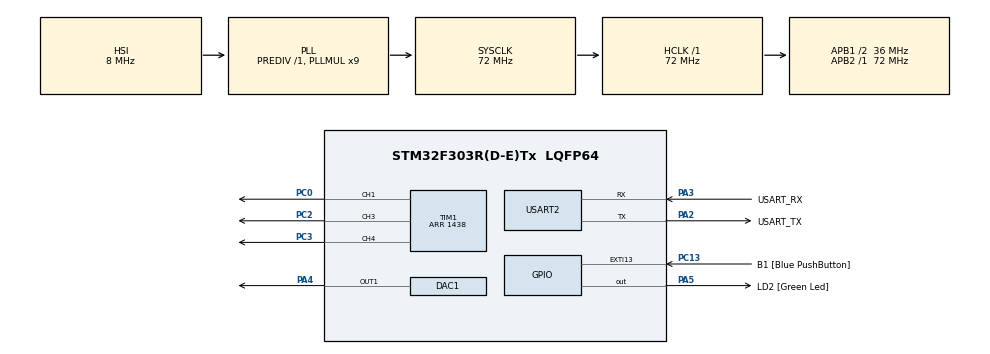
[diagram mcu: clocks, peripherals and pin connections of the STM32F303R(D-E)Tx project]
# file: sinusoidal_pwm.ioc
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DAC1.DAC_Trigger=DAC_TRIGGER_T2_TRGO
Dma.DAC1_CH1.0.Direction=DMA_MEMORY_TO_PERIPH
Dma.DAC1_CH1.0.Instance=DMA1_Channel3
Dma.DAC1_CH1.0.MemDataAlignment=DMA_MDATAALIGN_WORD
Dma.DAC1_CH1.0.MemInc=DMA_MINC_ENABLE
Dma.DAC1_CH1.0.Mode=DMA_CIRCULAR
Dma.DAC1_CH1.0.PeriphDataAlignment=DMA_PDATAALIGN_WORD
Dma.DAC1_CH1.0.PeriphInc=DMA_PINC_DISABLE
Dma.DAC1_CH1.0.Priority=DMA_PRIORITY_HIGH
Dma.Request0=DAC1_CH1
Dma.Request1=TIM1_CH1
Dma.Request2=TIM1_CH3
Dma.Request3=TIM1_CH4/TRIG/COM
Dma.TIM1_CH1.1.Direction=DMA_MEMORY_TO_PERIPH
Dma.TIM1_CH1.1.Instance=DMA1_Channel2
Dma.TIM1_CH1.1.MemDataAlignment=DMA_MDATAALIGN_HALFWORD
Dma.TIM1_CH1.1.MemInc=DMA_MINC_ENABLE
Dma.TIM1_CH1.1.Mode=DMA_CIRCULAR
Dma.TIM1_CH1.1.PeriphDataAlignment=DMA_PDATAALIGN_HALFWORD
Dma.TIM1_CH1.1.PeriphInc=DMA_PINC_DISABLE
Dma.TIM1_CH1.1.Priority=DMA_PRIORITY_HIGH
Dma.TIM1_CH3.2.Direction=DMA_MEMORY_TO_PERIPH
Dma.TIM1_CH3.2.Instance=DMA1_Channel6
Dma.TIM1_CH3.2.MemDataAlignment=DMA_MDATAALIGN_HALFWORD
Dma.TIM1_CH3.2.MemInc=DMA_MINC_ENABLE
Dma.TIM1_CH3.2.Mode=DMA_CIRCULAR
Dma.TIM1_CH3.2.PeriphDataAlignment=DMA_PDATAALIGN_HALFWORD
Dma.TIM1_CH3.2.PeriphInc=DMA_PINC_DISABLE
Dma.TIM1_CH3.2.Priority=DMA_PRIORITY_HIGH
Dma.TIM1_CH4/TRIG/COM.3.Direction=DMA_MEMORY_TO_PERIPH
Dma.TIM1_CH4/TRIG/COM.3.Instance=DMA1_Channel4
Dma.TIM1_CH4/TRIG/COM.3.MemDataAlignment=DMA_MDATAALIGN_HALFWORD
Dma.TIM1_CH4/TRIG/COM.3.MemInc=DMA_MINC_ENABLE
Dma.TIM1_CH4/TRIG/COM.3.Mode=DMA_CIRCULAR
Dma.TIM1_CH4/TRIG/COM.3.PeriphDataAlignment=DMA_PDATAALIGN_HALFWORD
Dma.TIM1_CH4/TRIG/COM.3.PeriphInc=DMA_PINC_DISABLE
Dma.TIM1_CH4/TRIG/COM.3.Priority=DMA_PRIORITY_HIGH
Mcu.Family=STM32F3
Mcu.Name=STM32F303R(D-E)Tx
Mcu.Package=LQFP64
NVIC.DMA1_Channel2_IRQn=true\:0\:0\:false\:false\:true\:false\:true\:true
NVIC.DMA1_Channel3_IRQn=true\:0\:0\:false\:false\:true\:false\:true\:true
NVIC.DMA1_Channel4_IRQn=true\:0\:0\:false\:false\:true\:false\:true\:true
NVIC.DMA1_Channel6_IRQn=true\:0\:0\:false\:false\:true\:false\:true\:true
NVIC.PriorityGroup=NVIC_PRIORITYGROUP_0
NVIC.TIM2_IRQn=true\:0\:0\:false\:false\:true\:true\:true\:true
PA13.GPIO_Label=TMS
PA13.Mode=Serial_Wire
PA13.Signal=SYS_JTMS-SWDIO
PA14.GPIO_Label=TCK
PA14.Mode=Serial_Wire
PA14.Signal=SYS_JTCK-SWCLK
PA2.GPIO_Label=USART_TX
PA2.GPIO_Mode=GPIO_MODE_AF_PP
PA2.GPIO_PuPd=GPIO_NOPULL
PA2.GPIO_Speed=GPIO_SPEED_FREQ_LOW
PA2.Mode=Asynchronous
PA2.Signal=USART2_TX
PA3.GPIO_Label=USART_RX
PA3.GPIO_Mode=GPIO_MODE_AF_PP
PA3.GPIO_PuPd=GPIO_NOPULL
PA3.GPIO_Speed=GPIO_SPEED_FREQ_LOW
PA3.Mode=Asynchronous
PA3.Signal=USART2_RX
PA4.Signal=COMP_DAC11_group
PA5.GPIO_Label=LD2 [Green Led]
PA5.GPIO_Mode=GPIO_MODE_OUTPUT_PP
PA5.GPIO_PuPd=GPIO_NOPULL
PA5.GPIO_Speed=GPIO_SPEED_FREQ_LOW
PA5.Signal=GPIO_Output
PB3.GPIO_Label=SWO
PB3.Signal=SYS_JTDO-TRACESWO
PC0.Signal=S_TIM1_CH1
PC13.GPIO_Label=B1 [Blue PushButton]
PC13.GPIO_ModeDefaultEXTI=GPIO_MODE_IT_FALLING
PC13.Signal=GPXTI13
PC14-OSC32_IN.Mode=LSE-External-Oscillator
PC14-OSC32_IN.Signal=RCC_OSC32_IN
PC15-OSC32_OUT.Mode=LSE-External-Oscillator
PC15-OSC32_OUT.Signal=RCC_OSC32_OUT
PC2.Signal=S_TIM1_CH3
PC3.Signal=S_TIM1_CH4
PF0-OSC_IN.Mode=HSE-External-Clock-Source
PF0-OSC_IN.Signal=RCC_OSC_IN
PF1-OSC_OUT.Signal=RCC_OSC_OUT
ProjectManager.HeapSize=0x200
ProjectManager.StackSize=0x400
ProjectManager.TargetToolchain=STM32CubeIDE
RCC.AHBFreq_Value=72000000
RCC.APB1CLKDivider=RCC_HCLK_DIV2
RCC.APB1Freq_Value=36000000
RCC.APB1TimFreq_Value=72000000
RCC.APB2Freq_Value=72000000
RCC.APB2TimFreq_Value=72000000
RCC.CortexFreq_Value=72000000
RCC.HCLKFreq_Value=72000000
RCC.HSE_VALUE=8000000
RCC.HSI_VALUE=8000000
RCC.PLLM=8
RCC.PLLMUL=RCC_PLL_MUL9
RCC.PLLN=336
RCC.PLLP=RCC_PLLP_DIV4
RCC.PLLQ=7
RCC.RCC_PLLsource_Clock_Source_FROM_HSE=RCC_HSE_PREDIV_DIV2
RCC.SYSCLKFreq_VALUE=72000000
RCC.SYSCLKSourceVirtual=RCC_SYSCLKSOURCE_PLLCLK
RCC.USBFreq_Value=72000000
SH.COMP_DAC11_group.0=DAC1_OUT1,DAC_OUT1
SH.S_TIM1_CH1.0=TIM1_CH1,PWM Generation1 CH1
SH.S_TIM1_CH3.0=TIM1_CH3,PWM Generation3 CH3
SH.S_TIM1_CH4.0=TIM1_CH4,PWM Generation4 CH4
TIM1.AutoReloadPreload=TIM_AUTORELOAD_PRELOAD_ENABLE
TIM1.Channel-PWM\ Generation1\ CH1=TIM_CHANNEL_1
TIM1.Channel-PWM\ Generation3\ CH3=TIM_CHANNEL_3
TIM1.Channel-PWM\ Generation4\ CH4=TIM_CHANNEL_4
TIM1.Period=1438
TIM2.Period=1438
TIM2.TIM_MasterOutputTrigger=TIM_TRGO_UPDATE
USART2.VirtualMode-Asynchronous=VM_ASYNC
VP_TIM1_VS_ClockSourceINT.Mode=Internal
VP_TIM2_VS_ClockSourceINT.Mode=Internal
board=NUCLEO-F303RE

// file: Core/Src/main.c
/* USER CODE BEGIN Header */
/**
  ******************************************************************************
  * @file           : main.c
  * @brief          : Main program body
  ******************************************************************************
  * @attention
  *
  * Copyright (c) 2024 STMicroelectronics.
  * All rights reserved.
  *
  * This software is licensed under terms that can be found in the LICENSE file
  * in the root directory of this software component.
  * If no LICENSE file comes with this software, it is provided AS-IS.
  *
  ******************************************************************************
  */
/* USER CODE END Header */
#include "main.h"

/* USER CODE BEGIN PD */
#define TABLE_SIZE 50
/* USER CODE END PD */

DAC_HandleTypeDef hdac1;
DMA_HandleTypeDef hdma_dac1_ch1;

TIM_HandleTypeDef htim1;
TIM_HandleTypeDef htim2;
DMA_HandleTypeDef hdma_tim1_ch1;
DMA_HandleTypeDef hdma_tim1_ch3;
DMA_HandleTypeDef hdma_tim1_ch4_trig_com;

UART_HandleTypeDef huart2;

/* USER CODE BEGIN PV */
const uint32_t sin_table_phaseA[] = {
512, 576, 639, 700, 758,
812, 862, 906, 943, 974,
998, 1014, 1022, 1022, 1014,
998, 974, 943, 906, 862,
812, 758, 700, 639, 576,
512, 447, 384, 323, 265,
211, 161, 117, 80, 49,
25, 9, 1, 1, 9,
25, 49, 80, 117, 161,
211, 265, 323, 384, 447};

const uint32_t sin_table_phaseB[] = {
943, 906, 862,
812, 758, 700, 639, 576,
512, 447, 384, 323, 265,
211, 161, 117, 80, 49,
25, 9, 1, 1, 9,
25, 49, 80, 117, 161,
211, 265, 323, 384, 447,
512, 576, 639, 700, 758,
812, 862, 906
};

const uint32_t sin_table_phaseC[] = {
943, 906, 862,
812, 758, 700, 639, 576,
512, 447, 384, 323, 265,
211, 161, 117, 80,49,25,
9, 1, 1, 9,
25, 49, 80, 117, 161,
211, 265, 323, 384, 447,
512, 576, 639, 700, 758,
812, 862, 906
};

/* USER CODE END PV */

void SystemClock_Config(void);
static void MX_GPIO_Init(void);
static void MX_DMA_Init(void);
static void MX_USART2_UART_Init(void);
static void MX_DAC1_Init(void);
static void MX_TIM2_Init(void);
static void MX_TIM1_Init(void);
/* USER CODE BEGIN PFP */
void start_pwm(){
	HAL_TIM_PWM_Start(&htim1, TIM_CHANNEL_1);
	HAL_TIM_PWM_Start(&htim1, TIM_CHANNEL_3);
	HAL_TIM_PWM_Start(&htim1, TIM_CHANNEL_4);
}

void configure_dma(){
    HAL_DMA_Start(&hdma_tim1_ch1, (uint32_t)sin_table_phaseA, (uint32_t)&TIM1->CCR1, TABLE_SIZE);
    HAL_DMA_Start(&hdma_tim1_ch3, (uint32_t)sin_table_phaseB, (uint32_t)&TIM1->CCR3, TABLE_SIZE);
    HAL_DMA_Start(&hdma_tim1_ch4_trig_com, (uint32_t)sin_table_phaseC, (uint32_t)&TIM1->CCR4, TABLE_SIZE);

    __HAL_TIM_ENABLE_DMA(&htim1, TIM_DMA_CC1);
    __HAL_TIM_ENABLE_DMA(&htim1, TIM_DMA_CC3);
    __HAL_TIM_ENABLE_DMA(&htim1, TIM_DMA_CC4);
}
/* USER CODE END PFP */

int main(void)
{

  /* MCU Configuration--------------------------------------------------------*/

  /* Reset of all peripherals, Initializes the Flash interface and the Systick. */
  HAL_Init();

  /* Configure the system clock */
  SystemClock_Config();

  /* Initialize all configured peripherals */
  MX_GPIO_Init();
  MX_DMA_Init();
  MX_USART2_UART_Init();
  MX_DAC1_Init();
  MX_TIM2_Init();
  MX_TIM1_Init();
  /* USER CODE BEGIN 2 */
  //HAL_DAC_Start_DMA(&hdac1, DAC_CHANNEL_1, (uint32_t*)sineLookupTable1, 50, DAC_ALIGN_12B_R);
  //HAL_TIM_Base_Start(&htim2);
  //int indx = 0;
  start_pwm();
  configure_dma();

  /* USER CODE END 2 */

  /* Infinite loop */
  /* USER CODE BEGIN WHILE */
  while (1)
  {
	  /*__HAL_TIM_SET_COMPARE(&htim1, TIM_CHANNEL_1, sineLookupTable1[indx]);
	  __HAL_TIM_SET_COMPARE(&htim1, TIM_CHANNEL_3, sineLookupTable1[(indx + TABLE_SIZE / 3) % TABLE_SIZE]);
	  __HAL_TIM_SET_COMPARE(&htim1, TIM_CHANNEL_4, sineLookupTable1[(indx + 2 * TABLE_SIZE / 3) % TABLE_SIZE]);

      indx = (indx + 1) % TABLE_SIZE;
      HAL_Delay(1);*/

    /* USER CODE END WHILE */

  }
}

void SystemClock_Config(void)
{
  RCC_OscInitTypeDef RCC_OscInitStruct = {0};
  RCC_ClkInitTypeDef RCC_ClkInitStruct = {0};
  RCC_PeriphCLKInitTypeDef PeriphClkInit = {0};

  /** Initializes the RCC Oscillators according to the specified parameters
  * in the RCC_OscInitTypeDef structure.
  */
  RCC_OscInitStruct.OscillatorType = RCC_OSCILLATORTYPE_HSI;
  RCC_OscInitStruct.HSIState = RCC_HSI_ON;
  RCC_OscInitStruct.HSICalibrationValue = RCC_HSICALIBRATION_DEFAULT;
  RCC_OscInitStruct.PLL.PLLState = RCC_PLL_ON;
  RCC_OscInitStruct.PLL.PLLSource = RCC_PLLSOURCE_HSI;
  RCC_OscInitStruct.PLL.PLLMUL = RCC_PLL_MUL9;
  RCC_OscInitStruct.PLL.PREDIV = RCC_PREDIV_DIV1;
  if (HAL_RCC_OscConfig(&RCC_OscInitStruct) != HAL_OK)
  {
    Error_Handler();
  }

  /** Initializes the CPU, AHB and APB buses clocks
  */
  RCC_ClkInitStruct.ClockType = RCC_CLOCKTYPE_HCLK|RCC_CLOCKTYPE_SYSCLK
                              |RCC_CLOCKTYPE_PCLK1|RCC_CLOCKTYPE_PCLK2;
  RCC_ClkInitStruct.SYSCLKSource = RCC_SYSCLKSOURCE_PLLCLK;
  RCC_ClkInitStruct.AHBCLKDivider = RCC_SYSCLK_DIV1;
  RCC_ClkInitStruct.APB1CLKDivider = RCC_HCLK_DIV2;
  RCC_ClkInitStruct.APB2CLKDivider = RCC_HCLK_DIV1;

  if (HAL_RCC_ClockConfig(&RCC_ClkInitStruct, FLASH_LATENCY_2) != HAL_OK)
  {
    Error_Handler();
  }
  PeriphClkInit.PeriphClockSelection = RCC_PERIPHCLK_USART2|RCC_PERIPHCLK_TIM1
                              |RCC_PERIPHCLK_TIM2;
  PeriphClkInit.Usart2ClockSelection = RCC_USART2CLKSOURCE_PCLK1;
  PeriphClkInit.Tim1ClockSelection = RCC_TIM1CLK_HCLK;
  PeriphClkInit.Tim2ClockSelection = RCC_TIM2CLK_HCLK;
  if (HAL_RCCEx_PeriphCLKConfig(&PeriphClkInit) != HAL_OK)
  {
    Error_Handler();
  }
}

static void MX_DAC1_Init(void)
{

  DAC_ChannelConfTypeDef sConfig = {0};

  /** DAC Initialization
  */
  hdac1.Instance = DAC1;
  if (HAL_DAC_Init(&hdac1) != HAL_OK)
  {
    Error_Handler();
  }

  /** DAC channel OUT1 config
  */
  sConfig.DAC_Trigger = DAC_TRIGGER_T2_TRGO;
  sConfig.DAC_OutputBuffer = DAC_OUTPUTBUFFER_ENABLE;
  if (HAL_DAC_ConfigChannel(&hdac1, &sConfig, DAC_CHANNEL_1) != HAL_OK)
  {
    Error_Handler();
  }

}

static void MX_TIM1_Init(void)
{

  TIM_ClockConfigTypeDef sClockSourceConfig = {0};
  TIM_MasterConfigTypeDef sMasterConfig = {0};
  TIM_OC_InitTypeDef sConfigOC = {0};
  TIM_BreakDeadTimeConfigTypeDef sBreakDeadTimeConfig = {0};

  htim1.Instance = TIM1;
  htim1.Init.Prescaler = 0;
  htim1.Init.CounterMode = TIM_COUNTERMODE_UP;
  htim1.Init.Period = 1438;
  htim1.Init.ClockDivision = TIM_CLOCKDIVISION_DIV1;
  htim1.Init.RepetitionCounter = 0;
  htim1.Init.AutoReloadPreload = TIM_AUTORELOAD_PRELOAD_ENABLE;
  if (HAL_TIM_Base_Init(&htim1) != HAL_OK)
  {
    Error_Handler();
  }
  sClockSourceConfig.ClockSource = TIM_CLOCKSOURCE_INTERNAL;
  if (HAL_TIM_ConfigClockSource(&htim1, &sClockSourceConfig) != HAL_OK)
  {
    Error_Handler();
  }
  if (HAL_TIM_PWM_Init(&htim1) != HAL_OK)
  {
    Error_Handler();
  }
  sMasterConfig.MasterOutputTrigger = TIM_TRGO_RESET;
  sMasterConfig.MasterOutputTrigger2 = TIM_TRGO2_RESET;
  sMasterConfig.MasterSlaveMode = TIM_MASTERSLAVEMODE_DISABLE;
  if (HAL_TIMEx_MasterConfigSynchronization(&htim1, &sMasterConfig) != HAL_OK)
  {
    Error_Handler();
  }
  sConfigOC.OCMode = TIM_OCMODE_PWM1;
  sConfigOC.Pulse = 0;
  sConfigOC.OCPolarity = TIM_OCPOLARITY_HIGH;
  sConfigOC.OCNPolarity = TIM_OCNPOLARITY_HIGH;
  sConfigOC.OCFastMode = TIM_OCFAST_DISABLE;
  sConfigOC.OCIdleState = TIM_OCIDLESTATE_RESET;
  sConfigOC.OCNIdleState = TIM_OCNIDLESTATE_RESET;
  if (HAL_TIM_PWM_ConfigChannel(&htim1, &sConfigOC, TIM_CHANNEL_1) != HAL_OK)
  {
    Error_Handler();
  }
  if (HAL_TIM_PWM_ConfigChannel(&htim1, &sConfigOC, TIM_CHANNEL_3) != HAL_OK)
  {
    Error_Handler();
  }
  if (HAL_TIM_PWM_ConfigChannel(&htim1, &sConfigOC, TIM_CHANNEL_4) != HAL_OK)
  {
    Error_Handler();
  }
  sBreakDeadTimeConfig.OffStateRunMode = TIM_OSSR_DISABLE;
  sBreakDeadTimeConfig.OffStateIDLEMode = TIM_OSSI_DISABLE;
  sBreakDeadTimeConfig.LockLevel = TIM_LOCKLEVEL_OFF;
  sBreakDeadTimeConfig.DeadTime = 0;
  sBreakDeadTimeConfig.BreakState = TIM_BREAK_DISABLE;
  sBreakDeadTimeConfig.BreakPolarity = TIM_BREAKPOLARITY_HIGH;
  sBreakDeadTimeConfig.BreakFilter = 0;
  sBreakDeadTimeConfig.Break2State = TIM_BREAK2_DISABLE;
  sBreakDeadTimeConfig.Break2Polarity = TIM_BREAK2POLARITY_HIGH;
  sBreakDeadTimeConfig.Break2Filter = 0;
  sBreakDeadTimeConfig.AutomaticOutput = TIM_AUTOMATICOUTPUT_DISABLE;
  if (HAL_TIMEx_ConfigBreakDeadTime(&htim1, &sBreakDeadTimeConfig) != HAL_OK)
  {
    Error_Handler();
  }
  HAL_TIM_MspPostInit(&htim1);

}

static void MX_TIM2_Init(void)
{

  TIM_ClockConfigTypeDef sClockSourceConfig = {0};
  TIM_MasterConfigTypeDef sMasterConfig = {0};

  htim2.Instance = TIM2;
  htim2.Init.Prescaler = 0;
  htim2.Init.CounterMode = TIM_COUNTERMODE_UP;
  htim2.Init.Period = 1438;
  htim2.Init.ClockDivision = TIM_CLOCKDIVISION_DIV1;
  htim2.Init.AutoReloadPreload = TIM_AUTORELOAD_PRELOAD_DISABLE;
  if (HAL_TIM_Base_Init(&htim2) != HAL_OK)
  {
    Error_Handler();
  }
  sClockSourceConfig.ClockSource = TIM_CLOCKSOURCE_INTERNAL;
  if (HAL_TIM_ConfigClockSource(&htim2, &sClockSourceConfig) != HAL_OK)
  {
    Error_Handler();
  }
  sMasterConfig.MasterOutputTrigger = TIM_TRGO_UPDATE;
  sMasterConfig.MasterSlaveMode = TIM_MASTERSLAVEMODE_DISABLE;
  if (HAL_TIMEx_MasterConfigSynchronization(&htim2, &sMasterConfig) != HAL_OK)
  {
    Error_Handler();
  }

}

static void MX_USART2_UART_Init(void)
{

  huart2.Instance = USART2;
  huart2.Init.BaudRate = 38400;
  huart2.Init.WordLength = UART_WORDLENGTH_8B;
  huart2.Init.StopBits = UART_STOPBITS_1;
  huart2.Init.Parity = UART_PARITY_NONE;
  huart2.Init.Mode = UART_MODE_TX_RX;
  huart2.Init.HwFlowCtl = UART_HWCONTROL_NONE;
  huart2.Init.OverSampling = UART_OVERSAMPLING_16;
  huart2.Init.OneBitSampling = UART_ONE_BIT_SAMPLE_DISABLE;
  huart2.AdvancedInit.AdvFeatureInit = UART_ADVFEATURE_NO_INIT;
  if (HAL_UART_Init(&huart2) != HAL_OK)
  {
    Error_Handler();
  }

}

static void MX_DMA_Init(void)
{

  /* DMA controller clock enable */
  __HAL_RCC_DMA1_CLK_ENABLE();

  /* DMA interrupt init */
  /* DMA1_Channel2_IRQn interrupt configuration */
  HAL_NVIC_SetPriority(DMA1_Channel2_IRQn, 0, 0);
  HAL_NVIC_EnableIRQ(DMA1_Channel2_IRQn);
  /* DMA1_Channel3_IRQn interrupt configuration */
  HAL_NVIC_SetPriority(DMA1_Channel3_IRQn, 0, 0);
  HAL_NVIC_EnableIRQ(DMA1_Channel3_IRQn);
  /* DMA1_Channel4_IRQn interrupt configuration */
  HAL_NVIC_SetPriority(DMA1_Channel4_IRQn, 0, 0);
  HAL_NVIC_EnableIRQ(DMA1_Channel4_IRQn);
  /* DMA1_Channel6_IRQn interrupt configuration */
  HAL_NVIC_SetPriority(DMA1_Channel6_IRQn, 0, 0);
  HAL_NVIC_EnableIRQ(DMA1_Channel6_IRQn);

}

static void MX_GPIO_Init(void)
{
  GPIO_InitTypeDef GPIO_InitStruct = {0};

  /* GPIO Ports Clock Enable */
  __HAL_RCC_GPIOC_CLK_ENABLE();
  __HAL_RCC_GPIOF_CLK_ENABLE();
  __HAL_RCC_GPIOA_CLK_ENABLE();
  __HAL_RCC_GPIOB_CLK_ENABLE();

  /*Configure GPIO pin Output Level */
  HAL_GPIO_WritePin(LD2_GPIO_Port, LD2_Pin, GPIO_PIN_RESET);

  /*Configure GPIO pin : B1_Pin */
  GPIO_InitStruct.Pin = B1_Pin;
  GPIO_InitStruct.Mode = GPIO_MODE_IT_FALLING;
  GPIO_InitStruct.Pull = GPIO_NOPULL;
  HAL_GPIO_Init(B1_GPIO_Port, &GPIO_InitStruct);

  /*Configure GPIO pin : LD2_Pin */
  GPIO_InitStruct.Pin = LD2_Pin;
  GPIO_InitStruct.Mode = GPIO_MODE_OUTPUT_PP;
  GPIO_InitStruct.Pull = GPIO_NOPULL;
  GPIO_InitStruct.Speed = GPIO_SPEED_FREQ_LOW;
  HAL_GPIO_Init(LD2_GPIO_Port, &GPIO_InitStruct);

}

void Error_Handler(void)
{
  __disable_irq();
  while (1)
  {
  }
}
